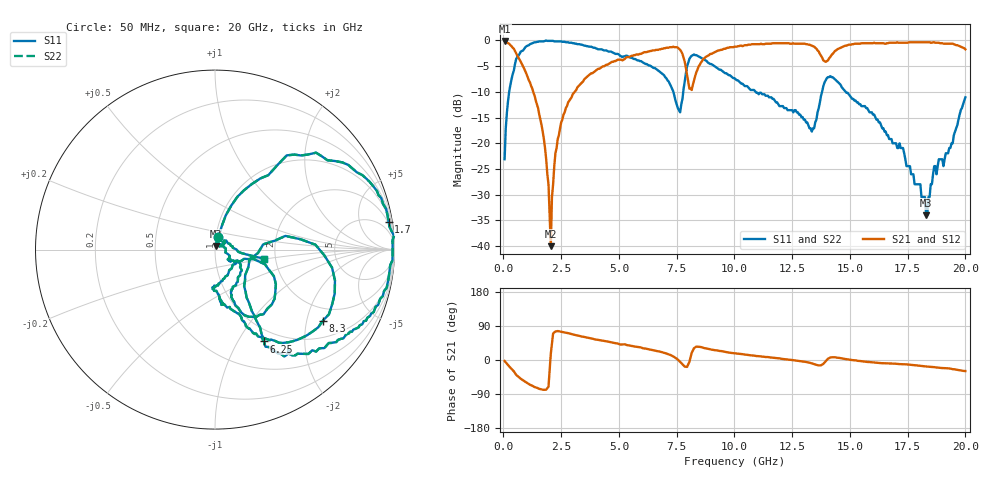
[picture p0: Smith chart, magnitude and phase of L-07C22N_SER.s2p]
#	mhz	s	ma	r	50
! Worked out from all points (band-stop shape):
!   400 points, 50 MHz to 20 GHz, reference 50 ohm
!   highest |S21| = -0.09 dB at 50 MHz (marker M1); lowest = -40.0 dB at 2.05 GHz (marker M2)
!   |S21| within 3 dB of the highest: 8.804 GHz to 13.76 GHz (4.961 GHz wide, 44 % of centre); 14.17 GHz to end of sweep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
!   lowest |S11| = -34.0 dB at 18.3 GHz (marker M3), VSWR 1.04, Z = 50.6 + j1.93 ohm
!   |S11| at or under -10 dB: 7.356 GHz to 7.784 GHz (428.3 MHz wide, 5.66 % of centre); 10.92 GHz to 13.79 GHz (2.875 GHz wide, 23.3 % of centre); 14.82 GHz to end of sweep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
!   |S22| runs from -34.0 to 0.0 dB; largest |S21 - S12| = 0
!   S11 on the Smith chart (normalised r, x): 50 MHz: 1.03, +0.14; 1.7 GHz: 2, +13; 6.25 GHz: 0.84, -1.30; 8.3 GHz: 1.53, -2.51; 20 GHz: 1.74, -0.20
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50  0.07 75.1  0.99 -2.6  0.99 -2.6  0.07 75.1
200  0.26 69.8  0.94 -13.5  0.94 -13.5  0.26 69.8
550  0.66 52.7  0.75 -39.1  0.75 -39.1  0.66 52.7
1700  0.98 8.9  0.13 -78.3  0.13 -78.3  0.98 8.9
1950  0.99 1.5  0.04 -70.6  0.04 -70.6  0.99 1.5
2050  0.99 -1.3  0.01 16.2  0.01 16.2  0.99 -1.3
2100  0.99 -2.4  0.03 43.3  0.03 43.3  0.99 -2.4
2350  0.98 -8.5  0.11 76.4  0.11 76.4  0.98 -8.5
3400  0.91 -28.4  0.39 62.0  0.39 62.0  0.91 -28.4
6250  0.58 -61.9  0.78 28.7  0.78 28.7  0.58 -61.9
6700  0.51 -60.3  0.81 23.0  0.81 23.0  0.51 -60.3
7650  0.2 -15.4  0.81 -4.8  0.81 -4.8  0.2 -15.4
7900  0.48 6.9  0.54 -17.8  0.54 -17.8  0.48 6.9
8300  0.72 -33.3  0.45 33.3  0.45 33.3  0.72 -33.3
10050  0.42 -69.0  0.87 17.5  0.87 17.5  0.42 -69.0
13350  0.13 -40.8  0.89 -9.1  0.89 -9.1  0.13 -40.8
14150  0.45 -53.1  0.69 6.5  0.69 6.5  0.45 -53.1
16700  0.11 -33.8  0.95 -9.0  0.95 -9.0  0.11 -33.8
18300  0.02 72.2  0.96 -17.1  0.96 -17.1  0.02 72.2
18650  0.06 36.3  0.96 -18.8  0.96 -18.8  0.06 36.3
19050  0.06 49.2  0.93 -21.2  0.93 -21.2  0.06 49.2
20000  0.28 -10.8  0.82 -29.1  0.82 -29.1  0.28 -10.8
